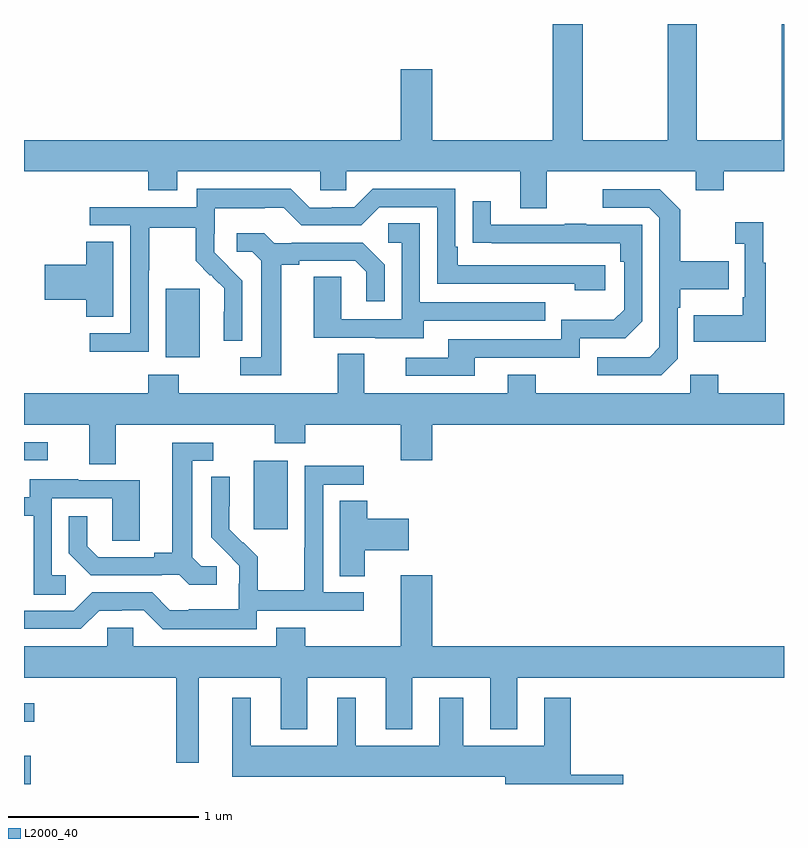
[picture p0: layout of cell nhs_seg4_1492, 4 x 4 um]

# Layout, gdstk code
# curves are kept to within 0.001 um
import gdstk
lib = gdstk.Library(unit=1e-6, precision=1e-09)
def R(c, l, rs):  # rectangles x0, y0, x1, y1
    for r in rs: c.add(gdstk.rectangle(r[:2], r[2:], *l))
def P(c, l, *ps):  # polygons
    for p in ps: c.add(gdstk.Polygon(p, *l))
L2000_40 = (2000, 40)

nhs_seg4_1492 = lib.new_cell('nhs_seg4_1492')
R(nhs_seg4_1492, L2000_40, [(187,822.9,187.036,823.048), (187,823.227,187.054,823.324), (188.21,824.241,188.389,824.602), (187,824.604,187.126,824.7), (187.745,825.146,187.924,825.507)])
P(nhs_seg4_1492, L2000_40, [(189.751,826.124),(190.535,826.124),(190.535,826.025),(190.683,826.025),(190.683,826.124),(191,826.124),(191,826.9),(190.987,826.9),(190.987,826.288),(190.542,826.288),(190.542,826.9),(190.387,826.9),(190.387,826.288),(189.942,826.288),(189.942,826.9),(189.782,826.9),(189.782,826.288),(189.148,826.288),(189.148,826.663),(188.984,826.663),(188.984,826.288),(187,826.288),(187,826.124),(187.655,826.124),(187.655,826.025),(187.807,826.025),(187.807,826.124),(188.559,826.124),(188.559,826.026),(188.697,826.026),(188.697,826.124),(189.611,826.124),(189.611,825.93),(189.751,825.93)],
  [(187.656,825.604),(187.659,825.604),(187.659,825.828),(187.903,825.828),(187.903,825.653),(187.98,825.576),(187.983,825.579),(188.054,825.509),(188.054,825.386),(188.052,825.386),(188.052,825.232),(188.148,825.232),(188.148,825.55),(188.002,825.698),(188.002,825.795),(188.004,825.795),(188.004,825.929),(188.267,825.929),(188.267,825.933),(188.367,825.933),(188.46,825.84),(188.775,825.84),(188.871,825.936),(189.174,825.936),(189.174,825.534),(189.899,825.534),(189.899,825.5),(190.06,825.5),(190.06,825.63),(189.283,825.63),(189.283,825.727),(189.27,825.727),(189.27,826.032),(188.835,826.032),(188.739,825.936),(188.621,825.936),(188.621,825.933),(188.505,825.933),(188.405,826.033),(187.908,826.033),(187.908,825.936),(187.347,825.936),(187.347,825.84),(187.56,825.84),(187.56,825.273),(187.347,825.273),(187.347,825.175),(187.656,825.175)],
  [(190.44,825.138),(190.44,825.407),(190.453,825.407),(190.453,825.503),(190.709,825.503),(190.709,825.651),(190.453,825.651),(190.453,825.923),(190.347,826.029),(190.047,826.029),(190.047,825.933),(190.29,825.933),(190.344,825.879),(190.344,825.198),(190.293,825.147),(190.017,825.147),(190.017,825.051),(190.353,825.051)],
  [(189.373,825.144),(189.924,825.144),(189.924,825.246),(190.164,825.246),(190.254,825.336),(190.254,825.843),(189.959,825.843),(189.959,825.848),(189.847,825.848),(189.847,825.843),(189.457,825.843),(189.457,825.967),(189.361,825.967),(189.361,825.748),(190.138,825.747),(190.138,825.65),(190.158,825.65),(190.158,825.396),(190.105,825.343),(189.828,825.343),(189.828,825.24),(189.233,825.24),(189.233,825.144),(189.009,825.144),(189.009,825.048),(189.373,825.048)],
  [(190.903,825.643),(190.891,825.643),(190.891,825.856),(190.743,825.856),(190.743,825.743),(190.794,825.743),(190.794,825.463),(190.782,825.463),(190.782,825.367),(190.525,825.367),(190.525,825.227),(190.903,825.227)],
  [(189.103,825.339),(189.743,825.339),(189.743,825.435),(189.084,825.435),(189.084,825.851),(188.916,825.851),(188.916,825.75),(188.988,825.75),(188.988,825.345),(188.67,825.345),(188.67,825.569),(188.525,825.569),(188.525,825.249),(188.849,825.249),(188.849,825.245),(189.103,825.245)],
  [(188.353,825.632),(188.449,825.632),(188.449,825.654),(188.744,825.654),(188.801,825.597),(188.801,825.441),(188.898,825.441),(188.898,825.634),(188.782,825.75),(188.41,825.75),(188.41,825.747),(188.316,825.747),(188.264,825.799),(188.121,825.799),(188.121,825.702),(188.202,825.702),(188.249,825.655),(188.249,825.147),(188.139,825.147),(188.139,825.051),(188.353,825.051)],
  [(187.471,825.755),(187.328,825.755),(187.328,825.632),(187.11,825.632),(187.11,825.449),(187.328,825.449),(187.328,825.358),(187.471,825.358)],
  [(187.483,824.792),(188.32,824.792),(188.32,824.693),(188.48,824.693),(188.48,824.792),(188.984,824.792),(188.984,824.604),(189.148,824.604),(189.148,824.792),(191,824.792),(191,824.956),(190.653,824.956),(190.653,825.055),(190.506,825.055),(190.506,824.956),(189.693,824.956),(189.693,825.055),(189.545,825.055),(189.545,824.956),(188.791,824.956),(188.791,825.164),(188.651,825.164),(188.651,824.956),(187.815,824.956),(187.815,825.055),(187.655,825.055),(187.655,824.956),(187,824.956),(187,824.792),(187.343,824.792),(187.343,824.584),(187.483,824.584)],
  [(188.014,824.046),(187.932,824.046),(187.885,824.093),(187.885,824.601),(187.996,824.601),(187.996,824.697),(187.781,824.697),(187.781,824.117),(187.685,824.117),(187.685,824.094),(187.39,824.094),(187.333,824.151),(187.333,824.308),(187.236,824.308),(187.236,824.114),(187.352,823.998),(187.724,823.998),(187.724,824.001),(187.818,824.001),(187.87,823.949),(188.014,823.949)],
  [(188.226,823.812),(188.788,823.812),(188.788,823.908),(188.574,823.908),(188.574,824.475),(188.788,824.475),(188.788,824.574),(188.478,824.574),(188.478,824.144),(188.476,824.144),(188.476,823.921),(188.231,823.921),(188.231,824.095),(188.154,824.172),(188.151,824.169),(188.081,824.24),(188.082,824.516),(187.986,824.516),(187.986,824.198),(188.132,824.05),(188.132,823.953),(188.13,823.953),(188.13,823.819),(187.867,823.819),(187.867,823.815),(187.767,823.815),(187.674,823.908),(187.359,823.908),(187.263,823.812),(187,823.812),(187,823.716),(187.299,823.716),(187.395,823.812),(187.514,823.812),(187.514,823.815),(187.629,823.815),(187.729,823.715),(188.226,823.715)],
  [(187.219,823.998),(187.146,823.998),(187.146,824.403),(187.464,824.403),(187.464,824.179),(187.609,824.179),(187.609,824.499),(187.285,824.499),(187.285,824.503),(187.031,824.503),(187.031,824.409),(187,824.409),(187,824.313),(187.05,824.313),(187.05,823.897),(187.219,823.897)],
  [(188.794,824.129),(189.025,824.129),(189.025,824.295),(188.807,824.295),(188.807,824.39),(188.663,824.39),(188.663,823.993),(188.794,823.993)],
  [(187.921,823.46),(188.351,823.46),(188.351,823.187),(188.491,823.187),(188.491,823.46),(188.903,823.46),(188.903,823.187),(189.043,823.187),(189.043,823.46),(189.455,823.46),(189.455,823.187),(189.595,823.187),(189.595,823.46),(191,823.46),(191,823.624),(189.148,823.624),(189.148,823.999),(188.984,823.999),(188.984,823.624),(188.48,823.624),(188.48,823.723),(188.327,823.723),(188.327,823.624),(187.575,823.624),(187.575,823.722),(187.437,823.722),(187.437,823.624),(187,823.624),(187,823.46),(187.8,823.46),(187.8,823.011),(187.921,823.011)],
  [(190.153,822.95),(189.878,822.95),(189.878,823.354),(189.737,823.354),(189.737,823.102),(189.313,823.102),(189.313,823.354),(189.185,823.354),(189.185,823.102),(188.746,823.102),(188.746,823.354),(188.648,823.354),(188.648,823.102),(188.194,823.102),(188.194,823.354),(188.096,823.354),(188.096,822.938),(189.533,822.938),(189.533,822.9),(190.153,822.9)])

lib.write_gds('nhs_seg4_1492.gds')
